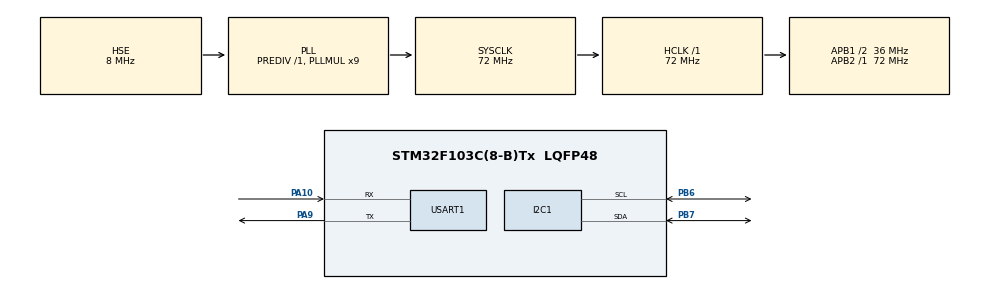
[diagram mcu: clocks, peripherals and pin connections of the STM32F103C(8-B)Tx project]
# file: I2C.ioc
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Dma.Request0=USART1_RX
Dma.USART1_RX.0.Direction=DMA_PERIPH_TO_MEMORY
Dma.USART1_RX.0.Instance=DMA1_Channel5
Dma.USART1_RX.0.MemDataAlignment=DMA_MDATAALIGN_BYTE
Dma.USART1_RX.0.MemInc=DMA_MINC_ENABLE
Dma.USART1_RX.0.Mode=DMA_NORMAL
Dma.USART1_RX.0.PeriphDataAlignment=DMA_PDATAALIGN_BYTE
Dma.USART1_RX.0.PeriphInc=DMA_PINC_DISABLE
Dma.USART1_RX.0.Priority=DMA_PRIORITY_HIGH
I2C1.I2C_Mode=I2C_Fast
Mcu.Family=STM32F1
Mcu.Name=STM32F103C(8-B)Tx
Mcu.Package=LQFP48
NVIC.DMA1_Channel5_IRQn=true\:0\:0\:false\:false\:true\:false\:true\:true
NVIC.PriorityGroup=NVIC_PRIORITYGROUP_4
NVIC.USART1_IRQn=true\:0\:0\:false\:false\:true\:true\:true\:true
PA10.Mode=Asynchronous
PA10.Signal=USART1_RX
PA13.Mode=Serial_Wire
PA13.Signal=SYS_JTMS-SWDIO
PA14.Mode=Serial_Wire
PA14.Signal=SYS_JTCK-SWCLK
PA9.Mode=Asynchronous
PA9.Signal=USART1_TX
PB6.Mode=I2C
PB6.Signal=I2C1_SCL
PB7.Mode=I2C
PB7.Signal=I2C1_SDA
PD0-OSC_IN.Mode=HSE-External-Oscillator
PD0-OSC_IN.Signal=RCC_OSC_IN
PD1-OSC_OUT.Mode=HSE-External-Oscillator
PD1-OSC_OUT.Signal=RCC_OSC_OUT
ProjectManager.HeapSize=0x200
ProjectManager.StackSize=0x400
ProjectManager.TargetToolchain=MDK-ARM V5
RCC.AHBFreq_Value=72000000
RCC.APB1CLKDivider=RCC_HCLK_DIV2
RCC.APB1Freq_Value=36000000
RCC.APB1TimFreq_Value=72000000
RCC.APB2Freq_Value=72000000
RCC.APB2TimFreq_Value=72000000
RCC.HCLKFreq_Value=72000000
RCC.PLLMUL=RCC_PLL_MUL9
RCC.PLLSourceVirtual=RCC_PLLSOURCE_HSE
RCC.SYSCLKFreq_VALUE=72000000
RCC.SYSCLKSource=RCC_SYSCLKSOURCE_PLLCLK
RCC.USBFreq_Value=72000000
USART1.VirtualMode=VM_ASYNC
board=custom

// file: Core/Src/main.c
/* USER CODE BEGIN Header */
/**
  ******************************************************************************
  * @file           : main.c
  * @brief          : Main program body
  ******************************************************************************
  * @attention
  *
  * Copyright (c) 2025 STMicroelectronics.
  * All rights reserved.
  *
  * This software is licensed under terms that can be found in the LICENSE file
  * in the root directory of this software component.
  * If no LICENSE file comes with this software, it is provided AS-IS.
  *
  ******************************************************************************
  */
/* USER CODE END Header */
#include "main.h"

I2C_HandleTypeDef hi2c1;

UART_HandleTypeDef huart1;
DMA_HandleTypeDef hdma_usart1_rx;

void SystemClock_Config(void);
static void MX_GPIO_Init(void);
static void MX_DMA_Init(void);
static void MX_I2C1_Init(void);
static void MX_USART1_UART_Init(void);
/* USER CODE BEGIN PFP */
#include "string.h"
#include "stdio.h"

uint8_t Wrt_Eeprom[17];
uint8_t Rd_Eeprom[17];
uint8_t Each_Eeprom_Element[1];
uint8_t count, flag;
/* USER CODE END PFP */

/* USER CODE BEGIN 0 */
void HAL_UARTEx_RxEventCallback(UART_HandleTypeDef *huart, uint16_t Size)
{
	flag = 1;
}

void EEPROM_Handle()
{
	flag = 0;

	for(int i = 0; i <= 16; i++)
	{
		HAL_I2C_Mem_Write(&hi2c1, 0xA0, i, 2, &Wrt_Eeprom[i], 1, 100);
		HAL_Delay(5);
	}

	for(int i = 0, j = 0; i <= 16; i++)
	{
		HAL_I2C_Mem_Read(&hi2c1, 0xA0, i, 2, Each_Eeprom_Element, 1, 100);
		Rd_Eeprom[j] = Each_Eeprom_Element[0];
		j++;
	}

	HAL_UART_Transmit(&huart1, Rd_Eeprom, sizeof(Rd_Eeprom), 100);

	memset(Wrt_Eeprom, 0, sizeof(Wrt_Eeprom));

	HAL_UARTEx_ReceiveToIdle_DMA(&huart1, Wrt_Eeprom, sizeof(Wrt_Eeprom));
}
/* USER CODE END 0 */

int main(void)
{

  /* MCU Configuration--------------------------------------------------------*/

  /* Reset of all peripherals, Initializes the Flash interface and the Systick. */
  HAL_Init();

  /* Configure the system clock */
  SystemClock_Config();

  /* Initialize all configured peripherals */
  MX_GPIO_Init();
  MX_DMA_Init();
  MX_I2C1_Init();
  MX_USART1_UART_Init();
  /* USER CODE BEGIN 2 */
	HAL_UARTEx_ReceiveToIdle_DMA(&huart1, Wrt_Eeprom, sizeof(Wrt_Eeprom));

  /* USER CODE END 2 */

  /* Infinite loop */
  /* USER CODE BEGIN WHILE */
  while (1)
  {
		if(flag == 1)
		{
			EEPROM_Handle();
		}
    /* USER CODE END WHILE */

  }
}

void SystemClock_Config(void)
{
  RCC_OscInitTypeDef RCC_OscInitStruct = {0};
  RCC_ClkInitTypeDef RCC_ClkInitStruct = {0};

  /** Initializes the RCC Oscillators according to the specified parameters
  * in the RCC_OscInitTypeDef structure.
  */
  RCC_OscInitStruct.OscillatorType = RCC_OSCILLATORTYPE_HSE;
  RCC_OscInitStruct.HSEState = RCC_HSE_ON;
  RCC_OscInitStruct.HSEPredivValue = RCC_HSE_PREDIV_DIV1;
  RCC_OscInitStruct.HSIState = RCC_HSI_ON;
  RCC_OscInitStruct.PLL.PLLState = RCC_PLL_ON;
  RCC_OscInitStruct.PLL.PLLSource = RCC_PLLSOURCE_HSE;
  RCC_OscInitStruct.PLL.PLLMUL = RCC_PLL_MUL9;
  if (HAL_RCC_OscConfig(&RCC_OscInitStruct) != HAL_OK)
  {
    Error_Handler();
  }

  /** Initializes the CPU, AHB and APB buses clocks
  */
  RCC_ClkInitStruct.ClockType = RCC_CLOCKTYPE_HCLK|RCC_CLOCKTYPE_SYSCLK
                              |RCC_CLOCKTYPE_PCLK1|RCC_CLOCKTYPE_PCLK2;
  RCC_ClkInitStruct.SYSCLKSource = RCC_SYSCLKSOURCE_PLLCLK;
  RCC_ClkInitStruct.AHBCLKDivider = RCC_SYSCLK_DIV1;
  RCC_ClkInitStruct.APB1CLKDivider = RCC_HCLK_DIV2;
  RCC_ClkInitStruct.APB2CLKDivider = RCC_HCLK_DIV1;

  if (HAL_RCC_ClockConfig(&RCC_ClkInitStruct, FLASH_LATENCY_2) != HAL_OK)
  {
    Error_Handler();
  }
}

static void MX_I2C1_Init(void)
{

  hi2c1.Instance = I2C1;
  hi2c1.Init.ClockSpeed = 400000;
  hi2c1.Init.DutyCycle = I2C_DUTYCYCLE_2;
  hi2c1.Init.OwnAddress1 = 0;
  hi2c1.Init.AddressingMode = I2C_ADDRESSINGMODE_7BIT;
  hi2c1.Init.DualAddressMode = I2C_DUALADDRESS_DISABLE;
  hi2c1.Init.OwnAddress2 = 0;
  hi2c1.Init.GeneralCallMode = I2C_GENERALCALL_DISABLE;
  hi2c1.Init.NoStretchMode = I2C_NOSTRETCH_DISABLE;
  if (HAL_I2C_Init(&hi2c1) != HAL_OK)
  {
    Error_Handler();
  }

}

static void MX_USART1_UART_Init(void)
{

  huart1.Instance = USART1;
  huart1.Init.BaudRate = 115200;
  huart1.Init.WordLength = UART_WORDLENGTH_8B;
  huart1.Init.StopBits = UART_STOPBITS_1;
  huart1.Init.Parity = UART_PARITY_NONE;
  huart1.Init.Mode = UART_MODE_TX_RX;
  huart1.Init.HwFlowCtl = UART_HWCONTROL_NONE;
  huart1.Init.OverSampling = UART_OVERSAMPLING_16;
  if (HAL_UART_Init(&huart1) != HAL_OK)
  {
    Error_Handler();
  }

}

static void MX_DMA_Init(void)
{

  /* DMA controller clock enable */
  __HAL_RCC_DMA1_CLK_ENABLE();

  /* DMA interrupt init */
  /* DMA1_Channel5_IRQn interrupt configuration */
  HAL_NVIC_SetPriority(DMA1_Channel5_IRQn, 0, 0);
  HAL_NVIC_EnableIRQ(DMA1_Channel5_IRQn);

}

static void MX_GPIO_Init(void)
{

  /* GPIO Ports Clock Enable */
  __HAL_RCC_GPIOD_CLK_ENABLE();
  __HAL_RCC_GPIOA_CLK_ENABLE();
  __HAL_RCC_GPIOB_CLK_ENABLE();

}

void Error_Handler(void)
{
  __disable_irq();
  while (1)
  {
  }
}
